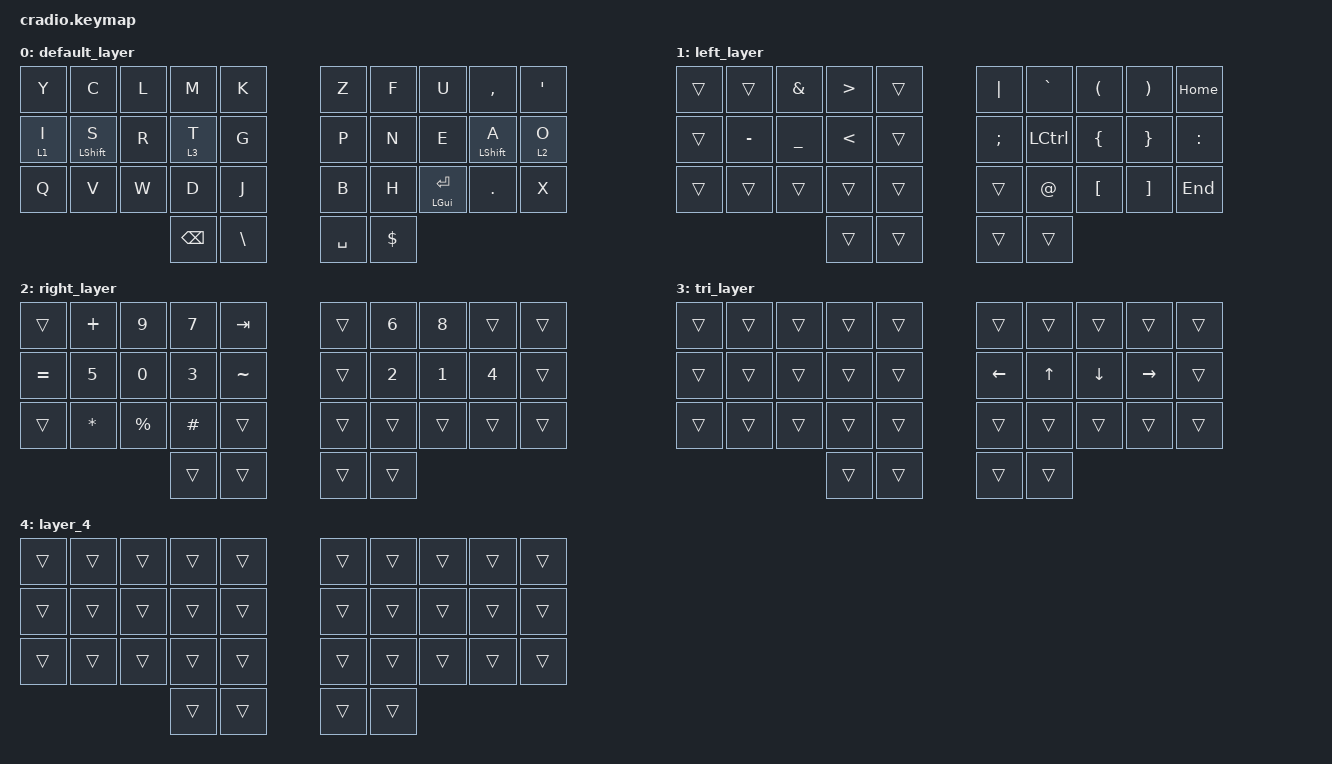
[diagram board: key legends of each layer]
/*
 * Copyright (c) 2020 The ZMK Contributors
 *
 * SPDX-License-Identifier: MIT
 */

#include <behaviors.dtsi>
#include <dt-bindings/zmk/keys.h>

&mt {
    //  flavor = "tap-preferred";
    // tapping_term_ms = <200>;

    tapping-term-ms = <150>;
};

&lt { tapping-term-ms = <150>; };

/ {
    combos {
        compatible = "zmk,combos";

        combo_esc {
            timeout-ms = <50>;
            key-positions = <0 1>;
            bindings = <&kp ESC>;
        };

        combo_tab {
            timeout-ms = <50>;
            key-positions = <10 11>;
            bindings = <&kp TAB>;
        };

        combo_ralt {
            timeout-ms = <50>;
            key-positions = <17 16>;
            bindings = <&kp RALT>;
        };

        combo_lalt {
            timeout-ms = <50>;
            key-positions = <11 12>;
            bindings = <&kp LALT>;
        };

        combo_lgui {
            timeout-ms = <50>;
            key-positions = <12 13>;
            bindings = <&kp LGUI>;
        };

        combo_rgui {
            timeout-ms = <50>;
            key-positions = <17 18>;
            bindings = <&kp RGUI>;
        };
    };

    behaviors {
        apos_shift_excl: apos_shift_excl {
            compatible = "zmk,behavior-mod-morph";
            label = "APOS_SHIFT_EXCL";
            bindings = <&kp SQT>, <&kp EXCLAMATION>;

            #binding-cells = <0>;
            mods = <(MOD_LSFT)>;
        };

        per_shift_ques: per_shift_ques {
            compatible = "zmk,behavior-mod-morph";
            label = "PER_SHIFT_QUES";
            bindings = <&kp PERIOD>, <&kp QUESTION>;

            #binding-cells = <0>;
            mods = <(MOD_LSFT)>;
        };
    };

    keymap {
        compatible = "zmk,keymap";

        default_layer {
            bindings = <
&kp Y    &kp C             &kp L  &kp M          &kp K          &kp Z      &kp F       &kp U               &kp COMMA         &kp SQT
&lt 1 I  &mt LEFT_SHIFT S  &kp R  &lt 3 T        &kp G          &kp P      &kp N       &kp E               &mt LEFT_SHIFT A  &lt 2 O
&kp Q    &kp V             &kp W  &kp D          &kp J          &kp B      &kp H       &mt LEFT_GUI ENTER  &kp PERIOD        &kp X
                                  &kp BACKSPACE  &kp BACKSLASH  &kp SPACE  &kp DOLLAR
            >;
        };

        left_layer {
            bindings = <
&trans  &trans     &kp AMPS        &kp GREATER_THAN  &trans  &kp PIPE       &kp GRAVE  &kp LEFT_PARENTHESIS  &kp RIGHT_PARENTHESIS  &kp HOME
&trans  &kp MINUS  &kp UNDERSCORE  &kp LESS_THAN     &trans  &kp SEMICOLON  &kp LCTRL  &kp LEFT_BRACE        &kp RIGHT_BRACE        &kp COLON
&trans  &trans     &trans          &trans            &trans  &trans         &kp AT     &kp LEFT_BRACKET      &kp RIGHT_BRACKET      &kp END
                                   &trans            &trans  &trans         &trans
            >;
        };

        right_layer {
            bindings = <
&trans     &kp PLUS      &kp N9       &kp N7        &kp TAB    &trans  &kp NUMBER_6  &kp N8        &trans        &trans
&kp EQUAL  &kp N5        &kp N0       &kp NUMBER_3  &kp TILDE  &trans  &kp NUMBER_2  &kp NUMBER_1  &kp NUMBER_4  &trans
&trans     &kp ASTERISK  &kp PERCENT  &kp HASH      &trans     &trans  &trans        &trans        &trans        &trans
                                      &trans        &trans     &trans  &trans
            >;
        };

        tri_layer {
            bindings = <
&trans  &trans  &trans  &trans  &trans  &trans          &trans        &trans          &trans           &trans
&trans  &trans  &trans  &trans  &trans  &kp LEFT_ARROW  &kp UP_ARROW  &kp DOWN_ARROW  &kp RIGHT_ARROW  &trans
&trans  &trans  &trans  &trans  &trans  &trans          &trans        &trans          &trans           &trans
                        &trans  &trans  &trans          &trans
            >;
        };

        layer_4 {
            bindings = <
&trans  &trans  &trans  &trans  &trans  &trans  &trans  &trans  &trans  &trans
&trans  &trans  &trans  &trans  &trans  &trans  &trans  &trans  &trans  &trans
&trans  &trans  &trans  &trans  &trans  &trans  &trans  &trans  &trans  &trans
                        &trans  &trans  &trans  &trans
            >;
        };
    };
};
